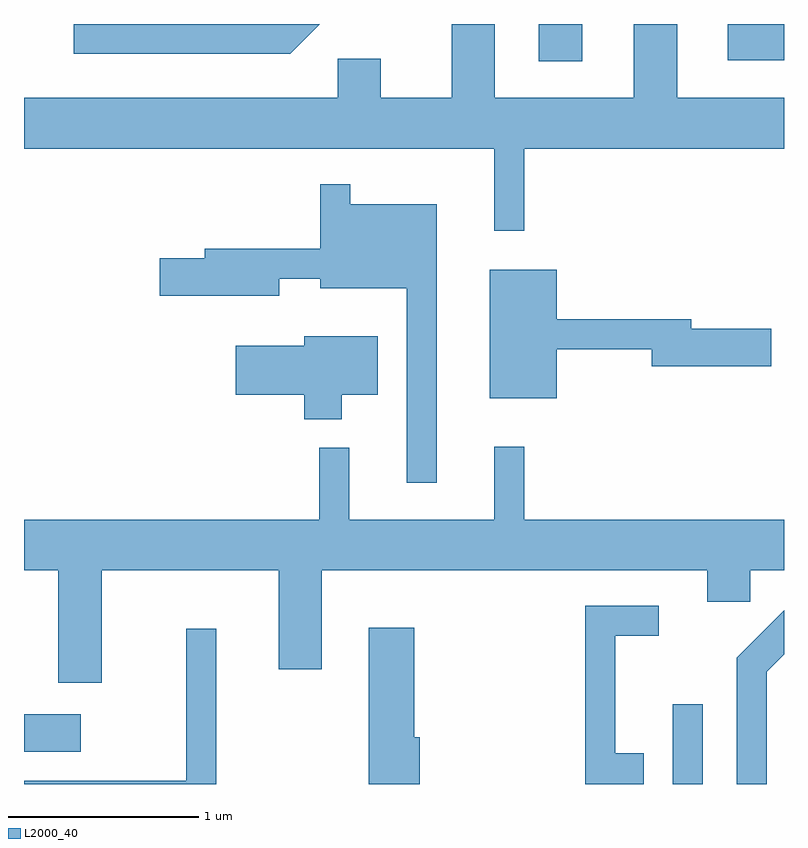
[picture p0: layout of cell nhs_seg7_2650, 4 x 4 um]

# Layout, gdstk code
import gdstk
lib = gdstk.Library(unit=1e-6, precision=1e-09)
def R(c, l, rs):  # rectangles x0, y0, x1, y1
    for r in rs: c.add(gdstk.rectangle(r[:2], r[2:], *l))
def P(c, l, *ps):  # polygons
    for p in ps: c.add(gdstk.Polygon(p, *l))
L2000_40 = (2000, 40)

nhs_seg7_2650 = lib.new_cell('nhs_seg7_2650')
R(nhs_seg7_2650, L2000_40, [(269.026,1764.252,269.184,1764.673), (265.611,1764.421,265.909,1764.619), (268.321,1768.056,268.549,1768.252), (269.316,1768.061,269.611,1768.252)])
P(nhs_seg7_2650, L2000_40, [(268.244,1767.596),(269.611,1767.596),(269.611,1767.864),(269.049,1767.864),(269.049,1768.252),(268.821,1768.252),(268.821,1767.864),(268.089,1767.864),(268.089,1768.252),(267.861,1768.252),(267.861,1767.864),(267.489,1767.864),(267.489,1768.069),(267.261,1768.069),(267.261,1767.864),(265.611,1767.864),(265.611,1767.596),(268.086,1767.596),(268.086,1767.163),(268.244,1767.163)],
  [(267.167,1768.252),(265.873,1768.252),(265.873,1768.096),(267.012,1768.096)],
  [(267.784,1767.304),(267.329,1767.304),(267.329,1767.408),(267.171,1767.408),(267.171,1767.069),(266.561,1767.069),(266.561,1767.019),(266.326,1767.019),(266.326,1766.821),(266.954,1766.821),(266.954,1766.911),(267.171,1766.911),(267.171,1766.861),(267.626,1766.861),(267.626,1765.838),(267.784,1765.838)],
  [(268.414,1766.541),(268.916,1766.541),(268.916,1766.451),(269.544,1766.451),(269.544,1766.649),(269.124,1766.649),(269.124,1766.699),(268.414,1766.699),(268.414,1766.959),(268.061,1766.959),(268.061,1766.281),(268.414,1766.281)],
  [(267.284,1766.301),(267.474,1766.301),(267.474,1766.609),(267.086,1766.609),(267.086,1766.559),(266.726,1766.559),(266.726,1766.301),(267.086,1766.301),(267.086,1766.171),(267.284,1766.171)],
  [(266.019,1765.376),(266.951,1765.376),(266.951,1764.856),(267.179,1764.856),(267.179,1765.376),(269.206,1765.376),(269.206,1765.211),(269.434,1765.211),(269.434,1765.376),(269.611,1765.376),(269.611,1765.644),(268.244,1765.644),(268.244,1766.028),(268.086,1766.028),(268.086,1765.644),(267.324,1765.644),(267.324,1766.023),(267.166,1766.023),(267.166,1765.644),(265.611,1765.644),(265.611,1765.376),(265.791,1765.376),(265.791,1764.786),(266.019,1764.786)],
  [(268.874,1764.414),(268.724,1764.414),(268.724,1765.031),(268.953,1765.031),(268.953,1765.189),(268.566,1765.189),(268.566,1764.252),(268.874,1764.252)],
  [(269.519,1764.844),(269.611,1764.936),(269.611,1765.166),(269.361,1764.917),(269.361,1764.252),(269.519,1764.252)],
  [(267.694,1764.499),(267.664,1764.499),(267.664,1765.074),(267.426,1765.074),(267.426,1764.252),(267.694,1764.252)],
  [(266.624,1765.068),(266.466,1765.068),(266.466,1764.269),(265.611,1764.269),(265.611,1764.252),(266.624,1764.252)])

lib.write_gds('nhs_seg7_2650.gds')
